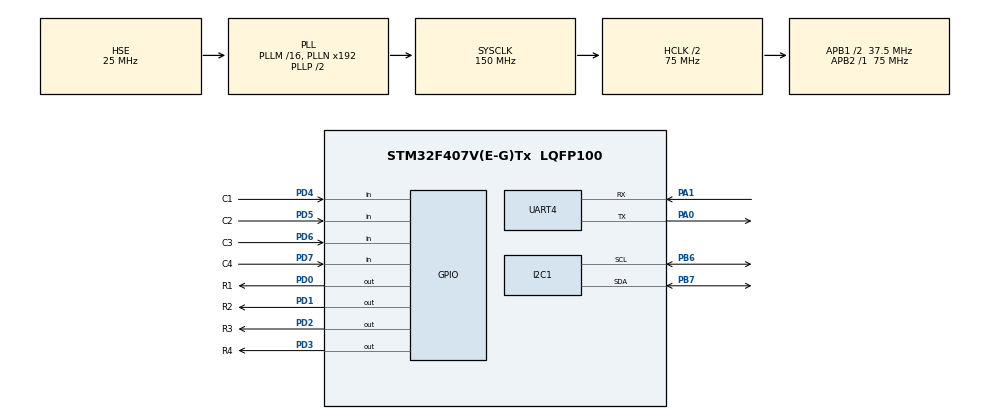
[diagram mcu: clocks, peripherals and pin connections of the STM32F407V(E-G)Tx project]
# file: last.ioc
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FREERTOS.Queues01=keypadQueue,256,uint8_t,0,Dynamic,NULL,NULL;cmdQueue,256,uint8_t,0,Dynamic,NULL,NULL;keyQueue,256,uint8_t,0,Dynamic,NULL,NULL
FREERTOS.Tasks01=PCTask,24,128,StartTask01,Default,NULL,Dynamic,NULL,NULL;I2CTask,8,128,StartTask02,Default,NULL,Dynamic,NULL,NULL
Mcu.Family=STM32F4
Mcu.Name=STM32F407V(E-G)Tx
Mcu.Package=LQFP100
NVIC.PriorityGroup=NVIC_PRIORITYGROUP_4
NVIC.TIM8_TRG_COM_TIM14_IRQn=true\:15\:0\:false\:false\:true\:false\:false\:true\:true
NVIC.TimeBase=TIM8_TRG_COM_TIM14_IRQn
NVIC.TimeBaseIP=TIM14
NVIC.UART4_IRQn=true\:5\:0\:false\:false\:true\:true\:true\:true\:true
PA0-WKUP.Mode=Asynchronous
PA0-WKUP.Signal=UART4_TX
PA1.Mode=Asynchronous
PA1.Signal=UART4_RX
PA13.Mode=Serial_Wire
PA13.Signal=SYS_JTMS-SWDIO
PA14.Mode=Serial_Wire
PA14.Signal=SYS_JTCK-SWCLK
PB6.Mode=I2C
PB6.Signal=I2C1_SCL
PB7.Mode=I2C
PB7.Signal=I2C1_SDA
PD0.GPIO_Label=R1
PD0.GPIO_PuPd=GPIO_PULLUP
PD0.Signal=GPIO_Output
PD1.GPIO_Label=R2
PD1.GPIO_PuPd=GPIO_PULLUP
PD1.Signal=GPIO_Output
PD2.GPIO_Label=R3
PD2.GPIO_PuPd=GPIO_PULLUP
PD2.Signal=GPIO_Output
PD3.GPIO_Label=R4
PD3.GPIO_PuPd=GPIO_PULLUP
PD3.Signal=GPIO_Output
PD4.GPIO_Label=C1
PD4.GPIO_Mode=GPIO_MODE_INPUT
PD4.GPIO_PuPd=GPIO_PULLUP
PD4.Signal=GPIO_Input
PD5.GPIO_Label=C2
PD5.GPIO_Mode=GPIO_MODE_INPUT
PD5.GPIO_PuPd=GPIO_PULLUP
PD5.Signal=GPIO_Input
PD6.GPIO_Label=C3
PD6.GPIO_Mode=GPIO_MODE_INPUT
PD6.GPIO_PuPd=GPIO_PULLUP
PD6.Signal=GPIO_Input
PD7.GPIO_Label=C4
PD7.GPIO_Mode=GPIO_MODE_INPUT
PD7.GPIO_PuPd=GPIO_PULLUP
PD7.Signal=GPIO_Input
PH0-OSC_IN.Mode=HSE-External-Oscillator
PH0-OSC_IN.Signal=RCC_OSC_IN
PH1-OSC_OUT.Mode=HSE-External-Oscillator
PH1-OSC_OUT.Signal=RCC_OSC_OUT
ProjectManager.HeapSize=0x200
ProjectManager.StackSize=0x400
ProjectManager.TargetToolchain=MDK-ARM V5.32
RCC.48MHZClocksFreq_Value=75000000
RCC.AHBCLKDivider=RCC_SYSCLK_DIV2
RCC.AHBFreq_Value=75000000
RCC.APB1CLKDivider=RCC_HCLK_DIV2
RCC.APB1Freq_Value=37500000
RCC.APB1TimFreq_Value=75000000
RCC.APB2Freq_Value=75000000
RCC.APB2TimFreq_Value=75000000
RCC.CortexFreq_Value=75000000
RCC.HCLKFreq_Value=75000000
RCC.HSE_VALUE=25000000
RCC.HSI_VALUE=16000000
RCC.LSE_VALUE=32768
RCC.PLLSourceVirtual=RCC_PLLSOURCE_HSE
RCC.SYSCLKFreq_VALUE=150000000
RCC.SYSCLKSource=RCC_SYSCLKSOURCE_PLLCLK
RCC.VCOOutputFreq_Value=300000000
UART4.VirtualMode=Asynchronous
VP_FREERTOS_VS_CMSIS_V2.Mode=CMSIS_V2
VP_SYS_VS_tim14.Mode=TIM14
board=custom

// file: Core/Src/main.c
/* USER CODE BEGIN Header */
/**
  ******************************************************************************
  * @file           : main.c
  * @brief          : Main program body
  ******************************************************************************
  * @attention
  *
  * Copyright (c) 2025 STMicroelectronics.
  * All rights reserved.
  *
  * This software is licensed under terms that can be found in the LICENSE file
  * in the root directory of this software component.
  * If no LICENSE file comes with this software, it is provided AS-IS.
  *
  ******************************************************************************
  */
/* USER CODE END Header */
#include "main.h"
#include "cmsis_os.h"

/* USER CODE BEGIN Includes */
#include "i2c_lcd.h"
#include "keypad_4x4.h"
#include "stdio.h"
#include <stdlib.h>
#include <string.h>
#include <stdbool.h>
/* USER CODE END Includes */

/* USER CODE BEGIN PD */
#define READ_KEYPAD_COMMAND 'R'
#define LCD_ROW_LENGTH 16
/* USER CODE END PD */

I2C_HandleTypeDef hi2c1;

UART_HandleTypeDef huart4;

/* Definitions for PCTask */
osThreadId_t PCTaskHandle;
const osThreadAttr_t PCTask_attributes = {
  .name = "PCTask",
  .stack_size = 128 * 4,
  .priority = (osPriority_t) osPriorityNormal,
};
/* Definitions for I2CTask */
osThreadId_t I2CTaskHandle;
const osThreadAttr_t I2CTask_attributes = {
  .name = "I2CTask",
  .stack_size = 128 * 4,
  .priority = (osPriority_t) osPriorityLow,
};
/* Definitions for keypadQueue */
osMessageQueueId_t keypadQueueHandle;
const osMessageQueueAttr_t keypadQueue_attributes = {
  .name = "keypadQueue"
};
/* Definitions for cmdQueue */
osMessageQueueId_t cmdQueueHandle;
const osMessageQueueAttr_t cmdQueue_attributes = {
  .name = "cmdQueue"
};
/* Definitions for keyQueue */
osMessageQueueId_t keyQueueHandle;
const osMessageQueueAttr_t keyQueue_attributes = {
  .name = "keyQueue"
};
/* USER CODE BEGIN PV */
I2C_LCD_HandleTypeDef lcd1;
uint8_t rx_data;
char key=0;
/* USER CODE END PV */

void SystemClock_Config(void);
static void MX_GPIO_Init(void);
static void MX_I2C1_Init(void);
static void MX_UART4_Init(void);
void StartTask01(void *argument);
void StartTask02(void *argument);

/* USER CODE BEGIN PFP */
void lcd_print(int line, char *str);
void UART_SendString(char *str);
/* USER CODE END PFP */

/* USER CODE BEGIN 0 */
void lcd_print(int line, char *str)
{
	if(str == NULL || (line != 0 && line != 1))
		return;
	lcd_gotoxy(&lcd1, 0, line);
	lcd_puts(&lcd1, str);
}
void UART_SendString(char *str) {
    HAL_UART_Transmit(&huart4, (uint8_t*)str, strlen(str), HAL_MAX_DELAY);
}

/* USER CODE END 0 */

int main(void)
{

  /* MCU Configuration--------------------------------------------------------*/

  /* Reset of all peripherals, Initializes the Flash interface and the Systick. */
  HAL_Init();

  /* Configure the system clock */
  SystemClock_Config();

  /* Initialize all configured peripherals */
  MX_GPIO_Init();
  MX_I2C1_Init();
  MX_UART4_Init();
  /* USER CODE BEGIN 2 */
  lcd1.hi2c = &hi2c1;
	lcd1.address = 0x4E;
	lcd_init(&lcd1);
  /* USER CODE END 2 */

  /* Init scheduler */
  osKernelInitialize();

  /* Create the queue(s) */
  /* creation of keypadQueue */
  keypadQueueHandle = osMessageQueueNew (256, sizeof(uint8_t), &keypadQueue_attributes);

  /* creation of cmdQueue */
  cmdQueueHandle = osMessageQueueNew (256, sizeof(uint8_t), &cmdQueue_attributes);

  /* creation of keyQueue */
  keyQueueHandle = osMessageQueueNew (256, sizeof(uint8_t), &keyQueue_attributes);

  /* Create the thread(s) */
  /* creation of PCTask */
  PCTaskHandle = osThreadNew(StartTask01, NULL, &PCTask_attributes);

  /* creation of I2CTask */
  I2CTaskHandle = osThreadNew(StartTask02, NULL, &I2CTask_attributes);

  /* Start scheduler */
  osKernelStart();

  /* We should never get here as control is now taken by the scheduler */

  /* Infinite loop */
  while (1)
  {

  }
}

void SystemClock_Config(void)
{
  RCC_OscInitTypeDef RCC_OscInitStruct = {0};
  RCC_ClkInitTypeDef RCC_ClkInitStruct = {0};

  /** Configure the main internal regulator output voltage
  */
  __HAL_RCC_PWR_CLK_ENABLE();
  __HAL_PWR_VOLTAGESCALING_CONFIG(PWR_REGULATOR_VOLTAGE_SCALE1);

  /** Initializes the RCC Oscillators according to the specified parameters
  * in the RCC_OscInitTypeDef structure.
  */
  RCC_OscInitStruct.OscillatorType = RCC_OSCILLATORTYPE_HSE;
  RCC_OscInitStruct.HSEState = RCC_HSE_ON;
  RCC_OscInitStruct.PLL.PLLState = RCC_PLL_ON;
  RCC_OscInitStruct.PLL.PLLSource = RCC_PLLSOURCE_HSE;
  RCC_OscInitStruct.PLL.PLLM = 16;
  RCC_OscInitStruct.PLL.PLLN = 192;
  RCC_OscInitStruct.PLL.PLLP = RCC_PLLP_DIV2;
  RCC_OscInitStruct.PLL.PLLQ = 4;
  if (HAL_RCC_OscConfig(&RCC_OscInitStruct) != HAL_OK)
  {
    Error_Handler();
  }

  /** Initializes the CPU, AHB and APB buses clocks
  */
  RCC_ClkInitStruct.ClockType = RCC_CLOCKTYPE_HCLK|RCC_CLOCKTYPE_SYSCLK
                              |RCC_CLOCKTYPE_PCLK1|RCC_CLOCKTYPE_PCLK2;
  RCC_ClkInitStruct.SYSCLKSource = RCC_SYSCLKSOURCE_PLLCLK;
  RCC_ClkInitStruct.AHBCLKDivider = RCC_SYSCLK_DIV2;
  RCC_ClkInitStruct.APB1CLKDivider = RCC_HCLK_DIV2;
  RCC_ClkInitStruct.APB2CLKDivider = RCC_HCLK_DIV1;

  if (HAL_RCC_ClockConfig(&RCC_ClkInitStruct, FLASH_LATENCY_2) != HAL_OK)
  {
    Error_Handler();
  }
}

static void MX_I2C1_Init(void)
{

  hi2c1.Instance = I2C1;
  hi2c1.Init.ClockSpeed = 100000;
  hi2c1.Init.DutyCycle = I2C_DUTYCYCLE_2;
  hi2c1.Init.OwnAddress1 = 0;
  hi2c1.Init.AddressingMode = I2C_ADDRESSINGMODE_7BIT;
  hi2c1.Init.DualAddressMode = I2C_DUALADDRESS_DISABLE;
  hi2c1.Init.OwnAddress2 = 0;
  hi2c1.Init.GeneralCallMode = I2C_GENERALCALL_DISABLE;
  hi2c1.Init.NoStretchMode = I2C_NOSTRETCH_DISABLE;
  if (HAL_I2C_Init(&hi2c1) != HAL_OK)
  {
    Error_Handler();
  }

}

static void MX_UART4_Init(void)
{

  huart4.Instance = UART4;
  huart4.Init.BaudRate = 115200;
  huart4.Init.WordLength = UART_WORDLENGTH_8B;
  huart4.Init.StopBits = UART_STOPBITS_1;
  huart4.Init.Parity = UART_PARITY_NONE;
  huart4.Init.Mode = UART_MODE_TX_RX;
  huart4.Init.HwFlowCtl = UART_HWCONTROL_NONE;
  huart4.Init.OverSampling = UART_OVERSAMPLING_16;
  if (HAL_UART_Init(&huart4) != HAL_OK)
  {
    Error_Handler();
  }

}

static void MX_GPIO_Init(void)
{
  GPIO_InitTypeDef GPIO_InitStruct = {0};

  /* GPIO Ports Clock Enable */
  __HAL_RCC_GPIOH_CLK_ENABLE();
  __HAL_RCC_GPIOA_CLK_ENABLE();
  __HAL_RCC_GPIOD_CLK_ENABLE();
  __HAL_RCC_GPIOB_CLK_ENABLE();

  /*Configure GPIO pin Output Level */
  HAL_GPIO_WritePin(GPIOD, R1_Pin|R2_Pin|R3_Pin|R4_Pin, GPIO_PIN_RESET);

  /*Configure GPIO pins : R1_Pin R2_Pin R3_Pin R4_Pin */
  GPIO_InitStruct.Pin = R1_Pin|R2_Pin|R3_Pin|R4_Pin;
  GPIO_InitStruct.Mode = GPIO_MODE_OUTPUT_PP;
  GPIO_InitStruct.Pull = GPIO_PULLUP;
  GPIO_InitStruct.Speed = GPIO_SPEED_FREQ_LOW;
  HAL_GPIO_Init(GPIOD, &GPIO_InitStruct);

  /*Configure GPIO pins : C1_Pin C2_Pin C3_Pin C4_Pin */
  GPIO_InitStruct.Pin = C1_Pin|C2_Pin|C3_Pin|C4_Pin;
  GPIO_InitStruct.Mode = GPIO_MODE_INPUT;
  GPIO_InitStruct.Pull = GPIO_PULLUP;
  HAL_GPIO_Init(GPIOD, &GPIO_InitStruct);

}

/* USER CODE BEGIN 4 */
void HAL_UART_RxCpltCallback(UART_HandleTypeDef *huart) {
    if (huart->Instance == UART4) {
        if (rx_data == READ_KEYPAD_COMMAND) {
            char msg[] = "Command Received: R\n";
            UART_SendString(msg);
            osMessageQueuePut(cmdQueueHandle, &rx_data, 0, 0); // Put the command in the queue
        }
        HAL_UART_Receive_IT(&huart4, &rx_data, 1);
    }
}

/* USER CODE END 4 */

void StartTask01(void *argument)
{
  /* USER CODE BEGIN 5 */
	char message[]="from STM32\n";
	UART_SendString("from STM32\n");
	lcd_clear(&lcd1);
  lcd_print(0,"from STM32");
	HAL_UART_Receive_IT(&huart4, &rx_data, 1);
  /* Infinite loop */
  for (;;) {
        char command;
        if (osMessageQueueGet(cmdQueueHandle, &command, NULL, osWaitForever) == osOK) {
            if (command == 'R') {
                lcd_clear(&lcd1);
                lcd_print(0, "Read values");
                UART_SendString("Read values\n");

                uint8_t request = 'R';
                osMessageQueuePut(keyQueueHandle, &request, 0, 0);

                uint8_t key;
                if (osMessageQueueGet(keypadQueueHandle, &key, NULL, pdMS_TO_TICKS(2000)) == osOK) {
                    snprintf(message, sizeof(message), "Key Pressed: %c\n", key);
                    UART_SendString(message);
                    lcd_clear(&lcd1);
                    lcd_print(0, message);
                } else {
                    UART_SendString("No key pressed or timeout\n");
                    lcd_clear(&lcd1);
                    lcd_print(0, "No key pressed");
                }
            }
        }
    }
  /* USER CODE END 5 */
}

void StartTask02(void *argument)
{
  /* USER CODE BEGIN StartTask02 */
  /* Infinite loop */
  for (;;) {
        uint8_t command;
        if (osMessageQueueGet(keyQueueHandle, &command, NULL, osWaitForever) == osOK) {
            if (command == 'R') {
                uint8_t key = keypad_get_key_value();
                if (key != 0xFF) {  // Gi? s? 0xFF là giá tr? không có phím nh?n
                    lcd_clear(&lcd1);
                    lcd_print(0, "Key:");
                    lcd_send_data(&lcd1, key);
                    osMessageQueuePut(keypadQueueHandle, &key, 0, 0);
                }
            }
        }
    }
  /* USER CODE END StartTask02 */
}

void HAL_TIM_PeriodElapsedCallback(TIM_HandleTypeDef *htim)
{
  if (htim->Instance == TIM14) {
    HAL_IncTick();
  }
}

void Error_Handler(void)
{
  __disable_irq();
  while (1)
  {
  }
}
